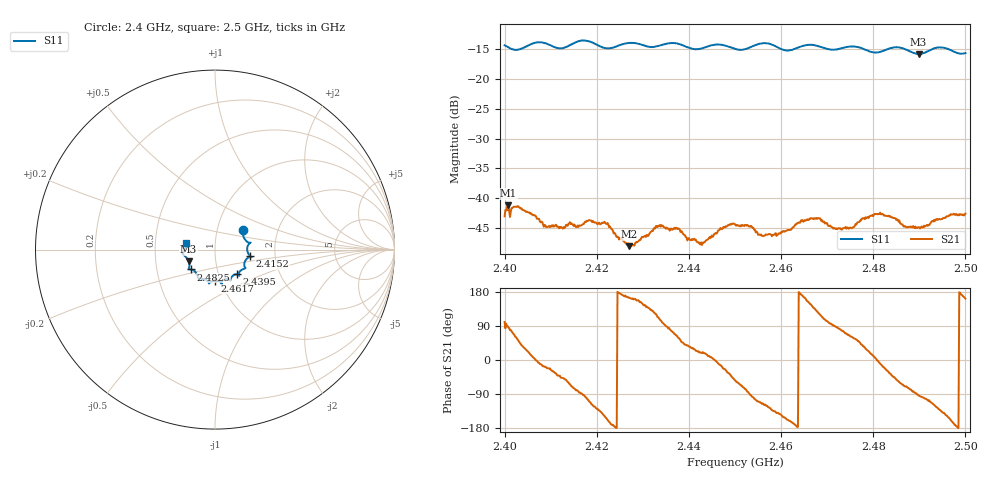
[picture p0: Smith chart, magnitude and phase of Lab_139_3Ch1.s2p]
# Hz S RI R 50
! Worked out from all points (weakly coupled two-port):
!   601 points, 2.4 GHz to 2.5 GHz, reference 50 ohm
!   highest |S21| = -41.13 dB at 2.4008 GHz (marker M1); lowest = -48.0 dB at 2.427 GHz (marker M2)
!   lowest |S11| = -15.9 dB at 2.4898 GHz (marker M3), VSWR 1.38, Z = 36.9 - j4.91 ohm
!   |S11| at or under -10 dB: start of sweep to end of sweep
!   S12 and S22 are empty: the file has one direction only
!   S11 on the Smith chart (normalised r, x): 2.4 GHz: 1.33, +0.30; 2.4152 GHz: 1.48, -0.11; 2.4395 GHz: 1.22, -0.35; 2.4617 GHz: 0.94, -0.33; 2.4825 GHz: 0.75, -0.17; 2.5 GHz: 0.72, +0.05
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2.4e9  0.1554 0.1095  -0.00129 0.00696  0 0  0 0
2.400833e9  0.155 0.0971  0.000666 0.00875  0 0  0 0
2.403167e9  0.1653 0.0591  0.0056 0.00624  0 0  0 0
2.409e9  0.1937 0.0367  0.00544 -0.00191  0 0  0 0
2.415167e9  0.1959 -0.0367  0.00151 -0.00585  0 0  0 0
2.416667e9  0.204 -0.0423  0.000195 -0.00596  0 0  0 0
2.422e9  0.1686 -0.062  -0.00545 -0.00286  0 0  0 0
2.427e9  0.1703 -0.1032  -0.00385 0.00104  0 0  0 0
2.433333e9  0.1328 -0.1327  -0.0023 0.00544  0 0  0 0
2.4375e9  0.1342 -0.1435  0.00261 0.00489  0 0  0 0
2.4395e9  0.1226 -0.1375  0.00368 0.00293  0 0  0 0
2.442833e9  0.0922 -0.1537  0.00387 0.0013  0 0  0 0
2.45e9  0.067 -0.1645  0.00363 -0.00487  0 0  0 0
2.456e9  0.038 -0.1941  -0.00202 -0.00442  0 0  0 0
2.461667e9  0.000766 -0.1722  -0.00511 -0.00193  0 0  0 0
2.466667e9  -0.034 -0.1888  -0.00549 0.00405  0 0  0 0
2.472667e9  -0.0752 -0.161  0.000759 0.00556  0 0  0 0
2.4825e9  -0.1324 -0.1109  0.00668 -0.0027  0 0  0 0
2.483333e9  -0.1397 -0.11  0.00611 -0.00375  0 0  0 0
2.489833e9  -0.1474 -0.0648  -0.000381 -0.00574  0 0  0 0
2.4945e9  -0.1812 -0.0225  -0.00449 -0.00495  0 0  0 0
2.5e9  -0.1599 0.0353  -0.00711 0.00229  0 0  0 0
